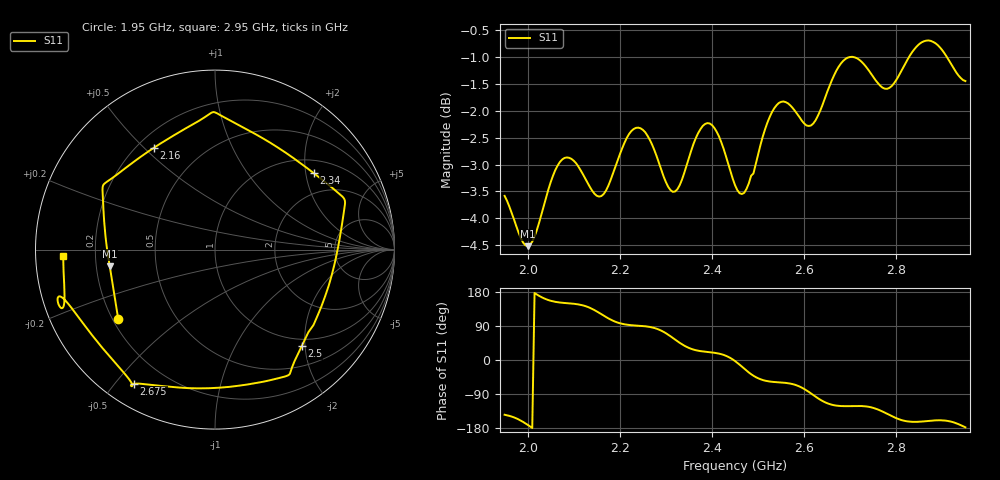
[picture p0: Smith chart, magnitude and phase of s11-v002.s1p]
#  HZ  S  DB  R  50.00
! Rohde & Schwarz ZVB4 2Ports - Version 3.20 - 1145.1010k04 SN: 100175
! Date: 2015-12-02 17:38:51
! Measurement: S11
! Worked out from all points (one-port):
!   201 points, 1.95 GHz to 2.95 GHz, reference 50 ohm
!   lowest |S11| = -4.5 dB at 2 GHz (marker M1), VSWR 3.93, Z = 12.8 - j3.66 ohm
!   |S11| at or under -10 dB: nowhere
!   S11 on the Smith chart (normalised r, x): 1.95 GHz: 0.22, -0.31; 2.16 GHz: 0.27, +0.54; 2.34 GHz: 1.34, +2.22; 2.5 GHz: 0.86, -1.93; 2.675 GHz: 0.09, -0.56; 2.95 GHz: 0.08, -0.02
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1.95e9  -3.58 -144.5
1.975e9  -4.14 -153.8
2e9  -4.52 -171.1
2.04e9  -3.61 160.4
2.075e9  -2.91 151.0
2.12e9  -3.18 144.1
2.16e9  -3.59 120.9
2.2e9  -2.81 97.0
2.235e9  -2.32 90.9
2.275e9  -2.73 84.5
2.325e9  -3.46 49.5
2.34e9  -3.15 37.8
2.385e9  -2.25 21.9
2.42e9  -2.58 15.4
2.45e9  -3.38 -2.7
2.5e9  -2.82 -48.1
2.53e9  -2.03 -57.5
2.575e9  -1.95 -63.6
2.6e9  -2.23 -76.3
2.645e9  -1.77 -111.3
2.675e9  -1.18 -121.1
2.7e9  -1.00 -121.6
2.75e9  -1.37 -126.3
2.805e9  -1.35 -156.0
2.825e9  -1.04 -162.1
2.905e9  -0.93 -159.7
2.925e9  -1.21 -164.8
2.95e9  -1.45 -177.7
